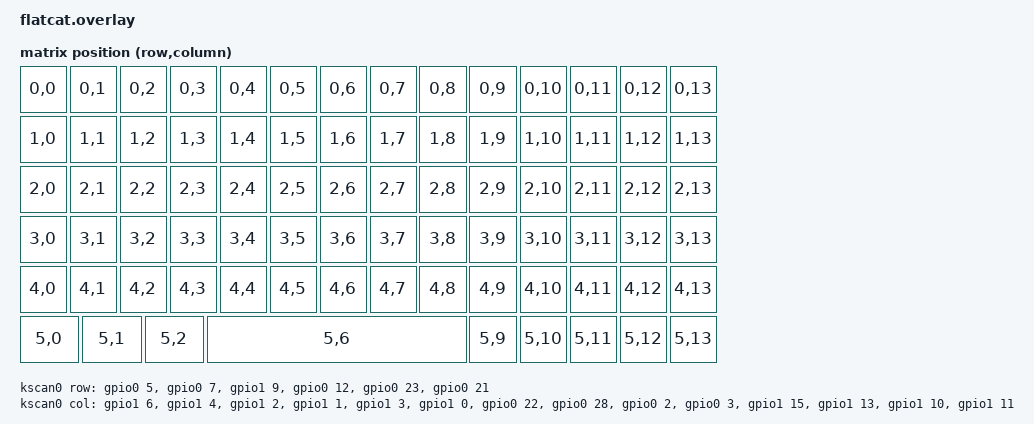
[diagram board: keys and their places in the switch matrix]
#include <dt-bindings/zmk/matrix_transform.h>
#include <physical_layouts.dtsi>
#include <dt-bindings/led/led.h>
#include <zephyr/dt-bindings/gpio/gpio.h>

/ {
    chosen {
        zmk,kscan            = &kscan0;
        zmk,physical-layout  = &physical_layout0;
        zmk,underglow        = &led_strip;
        zmk,battery          = &vbatt;
    };

    /* GPIO-controlled regulator powering the WS2812 strip (P0.29).
       The zmk-pro-rgb module looks for this node label. */
    rgb_pro_pwr: rgb_pro_pwr {
        compatible       = "regulator-fixed";
        regulator-name   = "rgb_pro_pwr";
        enable-gpios     = <&gpio0 29 GPIO_ACTIVE_LOW>;
        regulator-boot-on;
    };

    kscan0: kscan {
        compatible      = "zmk,kscan-gpio-matrix";
        diode-direction = "col2row";
        wakeup-source;

        row-gpios
            = <&gpio0 5  (GPIO_ACTIVE_HIGH | GPIO_PULL_DOWN)>
            , <&gpio0 7  (GPIO_ACTIVE_HIGH | GPIO_PULL_DOWN)>
            , <&gpio1 9  (GPIO_ACTIVE_HIGH | GPIO_PULL_DOWN)>
            , <&gpio0 12 (GPIO_ACTIVE_HIGH | GPIO_PULL_DOWN)>
            , <&gpio0 23 (GPIO_ACTIVE_HIGH | GPIO_PULL_DOWN)>
            , <&gpio0 21 (GPIO_ACTIVE_HIGH | GPIO_PULL_DOWN)>
            ;

        col-gpios
            = <&gpio1 6  GPIO_ACTIVE_HIGH>
            , <&gpio1 4  GPIO_ACTIVE_HIGH>
            , <&gpio1 2  GPIO_ACTIVE_HIGH>
            , <&gpio1 1  GPIO_ACTIVE_HIGH>
            , <&gpio1 3  GPIO_ACTIVE_HIGH>
            , <&gpio1 0  GPIO_ACTIVE_HIGH>
            , <&gpio0 22 GPIO_ACTIVE_HIGH>
            , <&gpio0 28 GPIO_ACTIVE_HIGH>
            , <&gpio0 2  GPIO_ACTIVE_HIGH>
            , <&gpio0 3  GPIO_ACTIVE_HIGH>
            , <&gpio1 15 GPIO_ACTIVE_HIGH>
            , <&gpio1 13 GPIO_ACTIVE_HIGH>
            , <&gpio1 10 GPIO_ACTIVE_HIGH>
            , <&gpio1 11 GPIO_ACTIVE_HIGH>
            ;
    };

    default_transform: keymap_transform0 {
        compatible = "zmk,matrix-transform";
        columns = <14>;
        rows    = <6>;

        map = <
    RC(0,0) RC(0,1) RC(0,2) RC(0,3) RC(0,4) RC(0,5) RC(0,6) RC(0,7) RC(0,8) RC(0,9) RC(0,10) RC(0,11) RC(0,12) RC(0,13)
    RC(1,0) RC(1,1) RC(1,2) RC(1,3) RC(1,4) RC(1,5) RC(1,6) RC(1,7) RC(1,8) RC(1,9) RC(1,10) RC(1,11) RC(1,12) RC(1,13)
    RC(2,0) RC(2,1) RC(2,2) RC(2,3) RC(2,4) RC(2,5) RC(2,6) RC(2,7) RC(2,8) RC(2,9) RC(2,10) RC(2,11) RC(2,12) RC(2,13)
    RC(3,0) RC(3,1) RC(3,2) RC(3,3) RC(3,4) RC(3,5) RC(3,6) RC(3,7) RC(3,8) RC(3,9) RC(3,10) RC(3,11) RC(3,12) RC(3,13)
    RC(4,0) RC(4,1) RC(4,2) RC(4,3) RC(4,4) RC(4,5) RC(4,6) RC(4,7) RC(4,8) RC(4,9) RC(4,10) RC(4,11) RC(4,12) RC(4,13)
    RC(5,0) RC(5,1) RC(5,2)                 RC(5,6)                 RC(5,9) RC(5,10) RC(5,11) RC(5,12) RC(5,13)
        >;
    };

    physical_layout0: physical_layout_0 {
        compatible   = "zmk,physical-layout";
        display-name = "Default";
        transform    = <&default_transform>;

        keys  //                     w   h    x    y
            = <&key_physical_attrs  100  100     0     0    0    0    0>
            , <&key_physical_attrs  100  100   100     0    0    0    0>
            , <&key_physical_attrs  100  100   200     0    0    0    0>
            , <&key_physical_attrs  100  100   300     0    0    0    0>
            , <&key_physical_attrs  100  100   400     0    0    0    0>
            , <&key_physical_attrs  100  100   500     0    0    0    0>
            , <&key_physical_attrs  100  100   600     0    0    0    0>
            , <&key_physical_attrs  100  100   700     0    0    0    0>
            , <&key_physical_attrs  100  100   800     0    0    0    0>
            , <&key_physical_attrs  100  100   900     0    0    0    0>
            , <&key_physical_attrs  100  100  1000     0    0    0    0>
            , <&key_physical_attrs  100  100  1100     0    0    0    0>
            , <&key_physical_attrs  100  100  1200     0    0    0    0>
            , <&key_physical_attrs  100  100  1300     0    0    0    0>
            , <&key_physical_attrs  100  100     0   100    0    0    0>
            , <&key_physical_attrs  100  100   100   100    0    0    0>
            , <&key_physical_attrs  100  100   200   100    0    0    0>
            , <&key_physical_attrs  100  100   300   100    0    0    0>
            , <&key_physical_attrs  100  100   400   100    0    0    0>
            , <&key_physical_attrs  100  100   500   100    0    0    0>
            , <&key_physical_attrs  100  100   600   100    0    0    0>
            , <&key_physical_attrs  100  100   700   100    0    0    0>
            , <&key_physical_attrs  100  100   800   100    0    0    0>
            , <&key_physical_attrs  100  100   900   100    0    0    0>
            , <&key_physical_attrs  100  100  1000   100    0    0    0>
            , <&key_physical_attrs  100  100  1100   100    0    0    0>
            , <&key_physical_attrs  100  100  1200   100    0    0    0>
            , <&key_physical_attrs  100  100  1300   100    0    0    0>
            , <&key_physical_attrs  100  100     0   200    0    0    0>
            , <&key_physical_attrs  100  100   100   200    0    0    0>
            , <&key_physical_attrs  100  100   200   200    0    0    0>
            , <&key_physical_attrs  100  100   300   200    0    0    0>
            , <&key_physical_attrs  100  100   400   200    0    0    0>
            , <&key_physical_attrs  100  100   500   200    0    0    0>
            , <&key_physical_attrs  100  100   600   200    0    0    0>
            , <&key_physical_attrs  100  100   700   200    0    0    0>
            , <&key_physical_attrs  100  100   800   200    0    0    0>
            , <&key_physical_attrs  100  100   900   200    0    0    0>
            , <&key_physical_attrs  100  100  1000   200    0    0    0>
            , <&key_physical_attrs  100  100  1100   200    0    0    0>
            , <&key_physical_attrs  100  100  1200   200    0    0    0>
            , <&key_physical_attrs  100  100  1300   200    0    0    0>
            , <&key_physical_attrs  100  100     0   300    0    0    0>
            , <&key_physical_attrs  100  100   100   300    0    0    0>
            , <&key_physical_attrs  100  100   200   300    0    0    0>
            , <&key_physical_attrs  100  100   300   300    0    0    0>
            , <&key_physical_attrs  100  100   400   300    0    0    0>
            , <&key_physical_attrs  100  100   500   300    0    0    0>
            , <&key_physical_attrs  100  100   600   300    0    0    0>
            , <&key_physical_attrs  100  100   700   300    0    0    0>
            , <&key_physical_attrs  100  100   800   300    0    0    0>
            , <&key_physical_attrs  100  100   900   300    0    0    0>
            , <&key_physical_attrs  100  100  1000   300    0    0    0>
            , <&key_physical_attrs  100  100  1100   300    0    0    0>
            , <&key_physical_attrs  100  100  1200   300    0    0    0>
            , <&key_physical_attrs  100  100  1300   300    0    0    0>
            , <&key_physical_attrs  100  100     0   400    0    0    0>
            , <&key_physical_attrs  100  100   100   400    0    0    0>
            , <&key_physical_attrs  100  100   200   400    0    0    0>
            , <&key_physical_attrs  100  100   300   400    0    0    0>
            , <&key_physical_attrs  100  100   400   400    0    0    0>
            , <&key_physical_attrs  100  100   500   400    0    0    0>
            , <&key_physical_attrs  100  100   600   400    0    0    0>
            , <&key_physical_attrs  100  100   700   400    0    0    0>
            , <&key_physical_attrs  100  100   800   400    0    0    0>
            , <&key_physical_attrs  100  100   900   400    0    0    0>
            , <&key_physical_attrs  100  100  1000   400    0    0    0>
            , <&key_physical_attrs  100  100  1100   400    0    0    0>
            , <&key_physical_attrs  100  100  1200   400    0    0    0>
            , <&key_physical_attrs  100  100  1300   400    0    0    0>
            , <&key_physical_attrs  125  100     0   500    0    0    0>
            , <&key_physical_attrs  125  100   125   500    0    0    0>
            , <&key_physical_attrs  125  100   250   500    0    0    0>
            , <&key_physical_attrs  525  100   375   500    0    0    0>
            , <&key_physical_attrs  100  100   900   500    0    0    0>
            , <&key_physical_attrs  100  100  1000   500    0    0    0>
            , <&key_physical_attrs  100  100  1100   500    0    0    0>
            , <&key_physical_attrs  100  100  1200   500    0    0    0>
            , <&key_physical_attrs  100  100  1300   500    0    0    0>
            ;
    };

    leds {
        compatible = "gpio-leds";
        blue_led: led_0 {
            gpios = <&gpio0 10 GPIO_ACTIVE_LOW>;
            label = "Blue LED";
        };
    };

    behaviors {
        rgb_pro: rgbpro {
            compatible      = "zmk,behavior-rgb-pro";
            #binding-cells  = <2>;
        };
    };

    vbatt: vbatt {
        compatible   = "zmk,battery-voltage-divider";
        io-channels  = <&adc 2>;
        output-ohms  = <2000000>;
        full-ohms    = <(2000000 + 806000)>;
    };
};

&pinctrl {
    spi3_default: spi3_default {
        group1 {
            psels = <NRF_PSEL(SPIM_MOSI, 0, 19)>;
        };
    };

    spi3_sleep: spi3_sleep {
        group1 {
            psels = <NRF_PSEL(SPIM_MOSI, 0, 19)>;
            low-power-enable;
        };
    };
};

&spi3 {
    compatible      = "nordic,nrf-spim";
    status          = "okay";
    pinctrl-0       = <&spi3_default>;
    pinctrl-1       = <&spi3_sleep>;
    pinctrl-names   = "default", "sleep";

    led_strip: ws2812@0 {
        compatible          = "worldsemi,ws2812-spi";
        reg                 = <0>;
        spi-max-frequency   = <4000000>;

        chain-length        = <79>;
        spi-one-frame       = <0x70>;
        spi-zero-frame      = <0x40>;
        color-mapping       = <LED_COLOR_ID_GREEN
                               LED_COLOR_ID_RED
                               LED_COLOR_ID_BLUE>;
    };
};
